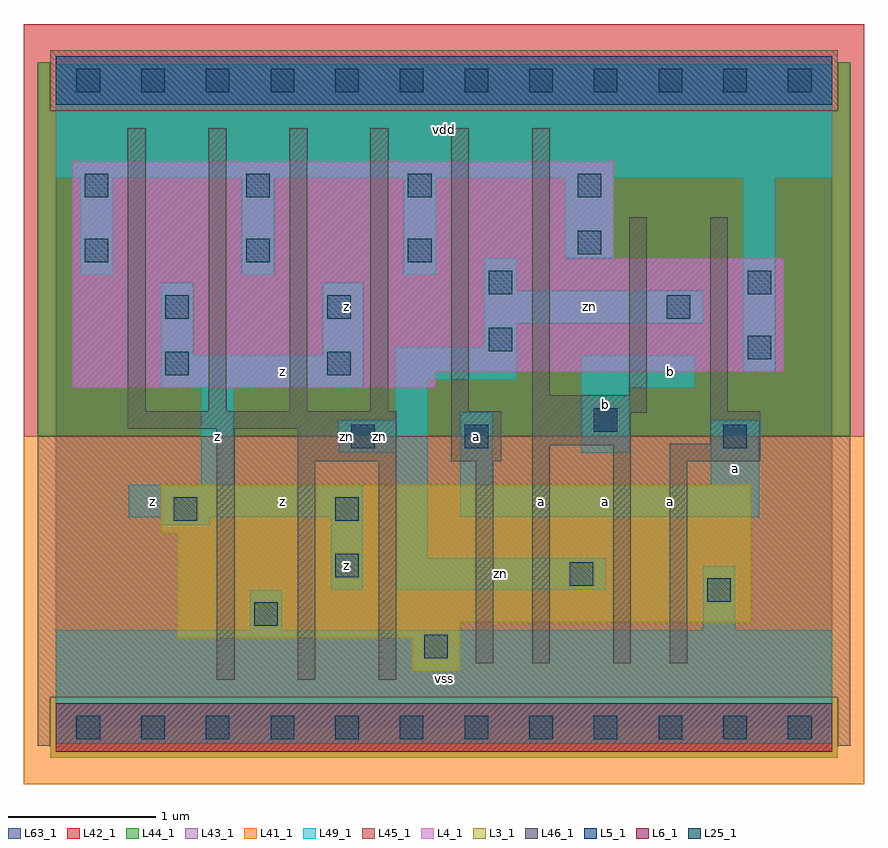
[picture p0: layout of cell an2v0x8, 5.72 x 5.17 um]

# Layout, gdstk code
import gdstk
lib = gdstk.Library(unit=1e-6, precision=1e-09)
def R(c, l, rs):  # rectangles x0, y0, x1, y1
    for r in rs: c.add(gdstk.rectangle(r[:2], r[2:], *l))
def A(c, l, x, y, w, h, nx, ny, dx, dy):  # array of equal rectangles
    R(c, l, [(x+i*dx, y+j*dy, x+i*dx+w, y+j*dy+h) for i in range(nx) for j in range(ny)])
L3_1 = (3, 1)
L4_1 = (4, 1)
L5_1 = (5, 1)
L6_1 = (6, 1)
L25_1 = (25, 1)
L41_1 = (41, 1)
L42_1 = (42, 1)
L43_1 = (43, 1)
L44_1 = (44, 1)
L45_1 = (45, 1)
L46_1 = (46, 1)
L49_1 = (49, 1)
L63_1 = (63, 1)

an2v0x8 = lib.new_cell('an2v0x8')
R(an2v0x8, L3_1, [(2.42,0.385,2.75,0.605), (0.825,0.605,2.75,0.715), (0.825,0.715,4.73,1.32), (0.715,1.32,4.73,1.65)])
R(an2v0x8, L4_1, [(0.11,2.31,2.585,2.42), (0.11,2.42,4.95,3.19), (0.11,3.19,3.795,3.85)])
R(an2v0x8, L5_1, [(0,4.235,5.28,4.565)])
R(an2v0x8, L6_1, [(0,-0.165,5.28,0.165)])
A(an2v0x8, L25_1, 0.14, -0.08, 0.16, 0.16, 12, 2, 0.44, 4.4)
A(an2v0x8, L25_1, 0.195, 3.165, 0.16, 0.16, 3, 2, 1.1, 0.44)
R(an2v0x8, L25_1, [(2.505,0.47,2.665,0.63), (1.35,0.69,1.51,0.85), (4.43,0.855,4.59,1.015), (3.495,0.965,3.655,1.125), (1.9,1.02,2.06,1.18), (0.8,1.405,0.96,1.565), (1.9,1.405,2.06,1.565), (2.01,1.9,2.17,2.06), (2.78,1.9,2.94,2.06), (4.54,1.9,4.7,2.06), (3.66,2.01,3.82,2.17), (0.745,2.395,0.905,2.555), (1.845,2.395,2.005,2.555), (4.705,2.505,4.865,2.665), (2.945,2.56,3.105,2.72), (0.745,2.78,0.905,2.94), (1.845,2.78,2.005,2.94), (4.155,2.78,4.315,2.94), (2.945,2.945,3.105,3.105), (4.705,2.945,4.865,3.105), (3.55,3.22,3.71,3.38), (3.55,3.605,3.71,3.765)])
R(an2v0x8, L41_1, [(-0.22,-0.385,5.5,1.98)])
R(an2v0x8, L42_1, [(-0.22,1.98,5.5,4.785)])
R(an2v0x8, L43_1, [(0,-0.165,5.28,0.165), (2.42,0.385,2.75,0.605), (0.825,0.605,2.75,0.715), (0.825,0.715,4.73,1.32), (0.715,1.32,4.73,1.65), (0.11,2.31,2.585,2.42), (0.11,2.42,4.95,3.19), (0.11,3.19,3.795,3.85), (0,4.235,5.28,4.565)])
R(an2v0x8, L44_1, [(-0.04,-0.205,5.32,0.205), (-0.125,1.98,5.405,4.195), (-0.125,4.195,-0.04,4.525), (5.32,4.195,5.405,4.525)])
R(an2v0x8, L45_1, [(-0.125,-0.125,-0.04,0.205), (5.32,-0.125,5.405,0.205), (-0.125,0.205,5.405,1.98), (-0.04,4.195,5.32,4.605)])
A(an2v0x8, L46_1, 0.49, 2.15, 0.12, 1.925, 5, 1, 0.55, 0)
R(an2v0x8, L46_1, [(1.095,0.325,1.215,2.03), (1.645,0.325,1.765,1.81), (2.195,0.325,2.315,1.81), (2.855,0.435,2.975,1.81), (3.24,0.435,3.36,1.92), (3.79,0.435,3.91,1.92), (4.175,0.435,4.295,1.81), (1.645,1.81,2.315,2.03), (2.69,1.81,3.03,2.15), (4.175,1.81,4.79,1.93), (3.24,1.92,3.91,2.14), (4.45,1.93,4.79,2.15), (0.49,2.03,2.315,2.15), (3.24,2.14,4.02,2.26), (4.45,2.15,4.57,3.47), (3.24,2.26,3.36,4.075), (3.9,2.26,4.02,3.47)])
A(an2v0x8, L49_1, 0.165, 3.08, 0.22, 0.66, 3, 1, 1.1, 0)
R(an2v0x8, L49_1, [(0,-0.11,5.28,0.66), (1.32,0.66,1.54,0.935), (4.4,0.66,4.62,1.1), (1.87,0.935,2.09,1.43), (2.31,0.935,3.74,1.155), (2.31,1.155,2.53,1.87), (0.715,1.375,1.045,1.43), (0.495,1.43,2.09,1.65), (2.75,1.43,4.785,1.65), (0.99,1.65,1.21,2.31), (2.75,1.65,2.97,2.145), (4.455,1.65,4.785,2.09), (1.925,1.87,2.53,2.09), (3.575,1.87,3.905,2.31), (2.31,2.09,2.53,2.365), (0.715,2.31,2.09,2.53), (3.575,2.31,4.345,2.53), (2.31,2.365,3.135,2.585), (4.675,2.42,4.895,3.74), (0.715,2.53,0.935,3.025), (1.815,2.53,2.09,3.025), (2.915,2.585,3.135,2.75), (2.915,2.75,4.4,2.97), (2.915,2.97,3.135,3.19), (3.465,3.19,3.795,3.74), (0,3.74,5.28,4.51)])
R(an2v0x8, L63_1, [(0,0,5.28,4.4)])
an2v0x8.add(gdstk.Label('zn', (1.98,1.98), layer=46, texttype=1))
an2v0x8.add(gdstk.Label('z', (0.66,1.54), layer=49, texttype=1))
an2v0x8.add(gdstk.Label('z', (1.54,1.54), layer=49, texttype=1))
an2v0x8.add(gdstk.Label('z', (1.1,1.98), layer=49, texttype=1))
an2v0x8.add(gdstk.Label('z', (1.54,2.42), layer=49, texttype=1))
an2v0x8.add(gdstk.Label('vss', (2.64,0.33), layer=49, texttype=1))
an2v0x8.add(gdstk.Label('z', (1.98,1.1), layer=49, texttype=1))
an2v0x8.add(gdstk.Label('zn', (2.2,1.98), layer=49, texttype=1))
an2v0x8.add(gdstk.Label('a', (2.86,1.98), layer=49, texttype=1))
an2v0x8.add(gdstk.Label('z', (1.98,2.86), layer=49, texttype=1))
an2v0x8.add(gdstk.Label('vdd', (2.64,4.07), layer=49, texttype=1))
an2v0x8.add(gdstk.Label('a', (3.3,1.54), layer=49, texttype=1))
an2v0x8.add(gdstk.Label('zn', (3.025,1.045), layer=49, texttype=1))
an2v0x8.add(gdstk.Label('a', (4.18,1.54), layer=49, texttype=1))
an2v0x8.add(gdstk.Label('a', (3.74,1.54), layer=49, texttype=1))
an2v0x8.add(gdstk.Label('b', (4.18,2.42), layer=49, texttype=1))
an2v0x8.add(gdstk.Label('b', (3.74,2.2), layer=49, texttype=1))
an2v0x8.add(gdstk.Label('a', (4.62,1.76), layer=49, texttype=1))
an2v0x8.add(gdstk.Label('zn', (3.63,2.86), layer=49, texttype=1))

lib.write_gds('an2v0x8.gds')
